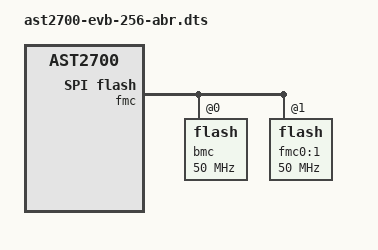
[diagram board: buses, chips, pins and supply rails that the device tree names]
// SPDX-License-Identifier: GPL-2.0-or-later

/dts-v1/;

#include "ast2700-evb.dts"

&fmc {
	status = "okay";
	pinctrl-0 = <&pinctrl_fwspi_quad_default>;
	pinctrl-names = "default";

	flash@0 {
		status = "okay";
		m25p,fast-read;
		label = "bmc";
		spi-max-frequency = <50000000>;
		spi-tx-bus-width = <4>;
		spi-rx-bus-width = <4>;
#include "aspeed-flash-layout-256-abr.dtsi"
	};

	flash@1 {
		status = "okay";
		m25p,fast-read;
		label = "fmc0:1";
		spi-max-frequency = <50000000>;
		spi-tx-bus-width = <4>;
		spi-rx-bus-width = <4>;
	};

	flash@2 {
		status = "disabled";
		m25p,fast-read;
		label = "fmc0:2";
		spi-max-frequency = <50000000>;
		spi-tx-bus-width = <4>;
		spi-rx-bus-width = <4>;
	};
};

